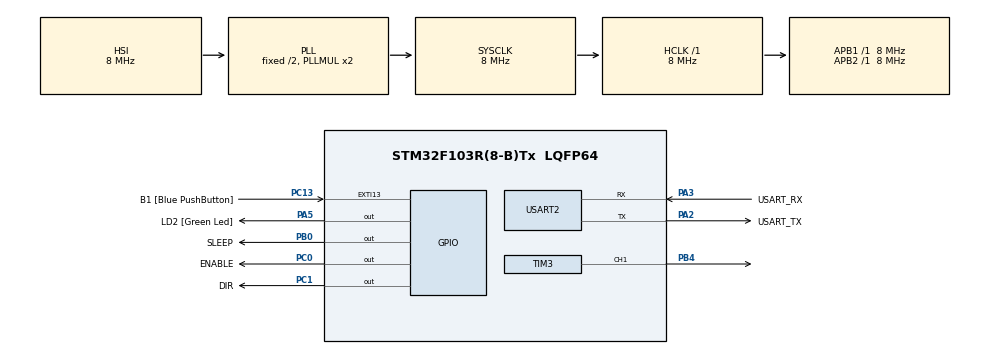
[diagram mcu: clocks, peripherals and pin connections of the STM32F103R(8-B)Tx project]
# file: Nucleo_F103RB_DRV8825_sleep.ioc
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Mcu.Family=STM32F1
Mcu.Name=STM32F103R(8-B)Tx
Mcu.Package=LQFP64
NVIC.EXTI15_10_IRQn=true\:0\:0\:false\:false\:true\:true\:true\:true
NVIC.PriorityGroup=NVIC_PRIORITYGROUP_4
PA13.GPIO_Label=TMS
PA13.Mode=Serial_Wire
PA13.Signal=SYS_JTMS-SWDIO
PA14.GPIO_Label=TCK
PA14.Mode=Serial_Wire
PA14.Signal=SYS_JTCK-SWCLK
PA2.GPIO_Label=USART_TX
PA2.GPIO_Mode=GPIO_MODE_AF_PP
PA2.GPIO_PuPd=GPIO_NOPULL
PA2.GPIO_Speed=GPIO_SPEED_FREQ_LOW
PA2.Mode=Asynchronous
PA2.Signal=USART2_TX
PA3.GPIO_Label=USART_RX
PA3.GPIO_Mode=GPIO_MODE_AF_PP
PA3.GPIO_PuPd=GPIO_NOPULL
PA3.GPIO_Speed=GPIO_SPEED_FREQ_LOW
PA3.Mode=Asynchronous
PA3.Signal=USART2_RX
PA5.GPIO_Label=LD2 [Green Led]
PA5.GPIO_ModeDefaultOutputPP=GPIO_MODE_OUTPUT_PP
PA5.GPIO_PuPd=GPIO_NOPULL
PA5.GPIO_Speed=GPIO_SPEED_FREQ_LOW
PA5.Signal=GPIO_Output
PB0.GPIO_Label=SLEEP
PB0.Signal=GPIO_Output
PB3.GPIO_Label=SWO
PB3.Signal=SYS_JTDO-TRACESWO
PB4.Signal=S_TIM3_CH1
PC0.GPIO_Label=ENABLE
PC0.Signal=GPIO_Output
PC1.GPIO_Label=DIR
PC1.Signal=GPIO_Output
PC13-TAMPER-RTC.GPIO_Label=B1 [Blue PushButton]
PC13-TAMPER-RTC.GPIO_PuPd=GPIO_NOPULL
PC13-TAMPER-RTC.Signal=GPXTI13
PC14-OSC32_IN.Mode=LSE-External-Oscillator
PC14-OSC32_IN.Signal=RCC_OSC32_IN
PC15-OSC32_OUT.Mode=LSE-External-Oscillator
PC15-OSC32_OUT.Signal=RCC_OSC32_OUT
PD0-OSC_IN.Mode=HSE-External-Clock-Source
PD0-OSC_IN.Signal=RCC_OSC_IN
PD1-OSC_OUT.Mode=HSE-External-Clock-Source
PD1-OSC_OUT.Signal=RCC_OSC_OUT
ProjectManager.HeapSize=0x200
ProjectManager.StackSize=0x400
ProjectManager.TargetToolchain=STM32CubeIDE
RCC.AHBFreq_Value=8000000
RCC.APB1Freq_Value=8000000
RCC.APB1TimFreq_Value=8000000
RCC.APB2Freq_Value=8000000
RCC.APB2TimFreq_Value=8000000
RCC.HCLKFreq_Value=8000000
RCC.RTCClockSelection=RCC_RTCCLKSOURCE_LSE
RCC.SYSCLKFreq_VALUE=8000000
RCC.SYSCLKSource=RCC_SYSCLKSOURCE_PLLCLK
RCC.USBFreq_Value=8000000
SH.S_TIM3_CH1.0=TIM3_CH1,Output Compare1 CH1
TIM3.AutoReloadPreload=TIM_AUTORELOAD_PRELOAD_ENABLE
TIM3.Channel-Output\ Compare1\ CH1=TIM_CHANNEL_1
TIM3.OCMode_1=TIM_OCMODE_TOGGLE
TIM3.Period=15-1
TIM3.Prescaler=1000-1
USART2.VirtualMode=VM_ASYNC
board=NUCLEO-F103RB

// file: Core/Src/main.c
/* USER CODE BEGIN Header */
/**
  ******************************************************************************
  * @file           : main.c
  * @brief          : Main program body
  ******************************************************************************
  * @attention
  *
  * Copyright (c) 2024 STMicroelectronics.
  * All rights reserved.
  *
  * This software is licensed under terms that can be found in the LICENSE file
  * in the root directory of this software component.
  * If no LICENSE file comes with this software, it is provided AS-IS.
  *
  ******************************************************************************
  */
/* USER CODE END Header */
#include "main.h"

/* USER CODE BEGIN PD */
typedef enum motor_direction {MOTOR_CW, MOTOR_CCW} direction_t;
typedef enum motor_enable {MOTOR_ENABLE, MOTOR_DISABLE} enable_t;
typedef enum motor_sleep {MOTOR_SLEEP, MOTOR_AWAKE} sleep_t;
/* USER CODE END PD */

TIM_HandleTypeDef htim3;

UART_HandleTypeDef huart2;

void SystemClock_Config(void);
static void MX_GPIO_Init(void);
static void MX_USART2_UART_Init(void);
static void MX_TIM3_Init(void);
/* USER CODE BEGIN PFP */
void motor_command(direction_t dir, enable_t status, uint32_t time);
/* USER CODE END PFP */

int main(void)
{

  /* MCU Configuration--------------------------------------------------------*/

  /* Reset of all peripherals, Initializes the Flash interface and the Systick. */
  HAL_Init();

  /* Configure the system clock */
  SystemClock_Config();

  /* Initialize all configured peripherals */
  MX_GPIO_Init();
  MX_USART2_UART_Init();
  MX_TIM3_Init();

  /* Infinite loop */
  /* USER CODE BEGIN WHILE */
  // Start timer for STEP signal
  HAL_GPIO_WritePin(SLEEP_GPIO_Port, SLEEP_Pin, MOTOR_SLEEP);
  //HAL_GPIO_WritePin(ENABLE_GPIO_Port, ENABLE_Pin, MOTOR_DISABLE); // Active low >> start disabled
  HAL_TIM_OC_Start(&htim3, TIM_CHANNEL_1 ); // Start STEP signal >> counter toggle to toggle every 20/1000 sec = 50hz

  while (1)
  {
/*
	  // motor
	  HAL_GPIO_WritePin(ENABLE_GPIO_Port, ENABLE_Pin, SET); // disable driver
	  HAL_Delay(500); // wait for the motor to stop
	  HAL_GPIO_TogglePin(DIR_GPIO_Port, DIR_Pin); // change direction
	  HAL_GPIO_WritePin(ENABLE_GPIO_Port, ENABLE_Pin, RESET); // enable driver
*/
	  motor_command(MOTOR_CW, MOTOR_AWAKE, 5000);
	  HAL_Delay(1000);
	  motor_command(MOTOR_CCW, MOTOR_AWAKE, 5000);
	  HAL_Delay(1000);
	  //motor_command(MOTOR_CCW, MOTOR_DISABLE, 2000);
	  //HAL_Delay(1000);

    /* USER CODE END WHILE */

  }
}

void SystemClock_Config(void)
{
  RCC_OscInitTypeDef RCC_OscInitStruct = {0};
  RCC_ClkInitTypeDef RCC_ClkInitStruct = {0};

  /** Initializes the RCC Oscillators according to the specified parameters
  * in the RCC_OscInitTypeDef structure.
  */
  RCC_OscInitStruct.OscillatorType = RCC_OSCILLATORTYPE_HSI;
  RCC_OscInitStruct.HSIState = RCC_HSI_ON;
  RCC_OscInitStruct.HSICalibrationValue = RCC_HSICALIBRATION_DEFAULT;
  RCC_OscInitStruct.PLL.PLLState = RCC_PLL_ON;
  RCC_OscInitStruct.PLL.PLLSource = RCC_PLLSOURCE_HSI_DIV2;
  RCC_OscInitStruct.PLL.PLLMUL = RCC_PLL_MUL2;
  if (HAL_RCC_OscConfig(&RCC_OscInitStruct) != HAL_OK)
  {
    Error_Handler();
  }

  /** Initializes the CPU, AHB and APB buses clocks
  */
  RCC_ClkInitStruct.ClockType = RCC_CLOCKTYPE_HCLK|RCC_CLOCKTYPE_SYSCLK
                              |RCC_CLOCKTYPE_PCLK1|RCC_CLOCKTYPE_PCLK2;
  RCC_ClkInitStruct.SYSCLKSource = RCC_SYSCLKSOURCE_PLLCLK;
  RCC_ClkInitStruct.AHBCLKDivider = RCC_SYSCLK_DIV1;
  RCC_ClkInitStruct.APB1CLKDivider = RCC_HCLK_DIV1;
  RCC_ClkInitStruct.APB2CLKDivider = RCC_HCLK_DIV1;

  if (HAL_RCC_ClockConfig(&RCC_ClkInitStruct, FLASH_LATENCY_0) != HAL_OK)
  {
    Error_Handler();
  }
}

static void MX_TIM3_Init(void)
{

  TIM_MasterConfigTypeDef sMasterConfig = {0};
  TIM_OC_InitTypeDef sConfigOC = {0};

  htim3.Instance = TIM3;
  htim3.Init.Prescaler = 1000-1;
  htim3.Init.CounterMode = TIM_COUNTERMODE_UP;
  htim3.Init.Period = 15-1;
  htim3.Init.ClockDivision = TIM_CLOCKDIVISION_DIV1;
  htim3.Init.AutoReloadPreload = TIM_AUTORELOAD_PRELOAD_ENABLE;
  if (HAL_TIM_OC_Init(&htim3) != HAL_OK)
  {
    Error_Handler();
  }
  sMasterConfig.MasterOutputTrigger = TIM_TRGO_RESET;
  sMasterConfig.MasterSlaveMode = TIM_MASTERSLAVEMODE_DISABLE;
  if (HAL_TIMEx_MasterConfigSynchronization(&htim3, &sMasterConfig) != HAL_OK)
  {
    Error_Handler();
  }
  sConfigOC.OCMode = TIM_OCMODE_TOGGLE;
  sConfigOC.Pulse = 0;
  sConfigOC.OCPolarity = TIM_OCPOLARITY_HIGH;
  sConfigOC.OCFastMode = TIM_OCFAST_DISABLE;
  if (HAL_TIM_OC_ConfigChannel(&htim3, &sConfigOC, TIM_CHANNEL_1) != HAL_OK)
  {
    Error_Handler();
  }
  HAL_TIM_MspPostInit(&htim3);

}

static void MX_USART2_UART_Init(void)
{

  huart2.Instance = USART2;
  huart2.Init.BaudRate = 115200;
  huart2.Init.WordLength = UART_WORDLENGTH_8B;
  huart2.Init.StopBits = UART_STOPBITS_1;
  huart2.Init.Parity = UART_PARITY_NONE;
  huart2.Init.Mode = UART_MODE_TX_RX;
  huart2.Init.HwFlowCtl = UART_HWCONTROL_NONE;
  huart2.Init.OverSampling = UART_OVERSAMPLING_16;
  if (HAL_UART_Init(&huart2) != HAL_OK)
  {
    Error_Handler();
  }

}

static void MX_GPIO_Init(void)
{
  GPIO_InitTypeDef GPIO_InitStruct = {0};

  /* GPIO Ports Clock Enable */
  __HAL_RCC_GPIOC_CLK_ENABLE();
  __HAL_RCC_GPIOD_CLK_ENABLE();
  __HAL_RCC_GPIOA_CLK_ENABLE();
  __HAL_RCC_GPIOB_CLK_ENABLE();

  /*Configure GPIO pin Output Level */
  HAL_GPIO_WritePin(GPIOC, ENABLE_Pin|DIR_Pin, GPIO_PIN_RESET);

  /*Configure GPIO pin Output Level */
  HAL_GPIO_WritePin(LD2_GPIO_Port, LD2_Pin, GPIO_PIN_RESET);

  /*Configure GPIO pin Output Level */
  HAL_GPIO_WritePin(SLEEP_GPIO_Port, SLEEP_Pin, GPIO_PIN_RESET);

  /*Configure GPIO pin : B1_Pin */
  GPIO_InitStruct.Pin = B1_Pin;
  GPIO_InitStruct.Mode = GPIO_MODE_IT_RISING;
  GPIO_InitStruct.Pull = GPIO_NOPULL;
  HAL_GPIO_Init(B1_GPIO_Port, &GPIO_InitStruct);

  /*Configure GPIO pins : ENABLE_Pin DIR_Pin */
  GPIO_InitStruct.Pin = ENABLE_Pin|DIR_Pin;
  GPIO_InitStruct.Mode = GPIO_MODE_OUTPUT_PP;
  GPIO_InitStruct.Pull = GPIO_NOPULL;
  GPIO_InitStruct.Speed = GPIO_SPEED_FREQ_LOW;
  HAL_GPIO_Init(GPIOC, &GPIO_InitStruct);

  /*Configure GPIO pin : LD2_Pin */
  GPIO_InitStruct.Pin = LD2_Pin;
  GPIO_InitStruct.Mode = GPIO_MODE_OUTPUT_PP;
  GPIO_InitStruct.Pull = GPIO_NOPULL;
  GPIO_InitStruct.Speed = GPIO_SPEED_FREQ_LOW;
  HAL_GPIO_Init(LD2_GPIO_Port, &GPIO_InitStruct);

  /*Configure GPIO pin : SLEEP_Pin */
  GPIO_InitStruct.Pin = SLEEP_Pin;
  GPIO_InitStruct.Mode = GPIO_MODE_OUTPUT_PP;
  GPIO_InitStruct.Pull = GPIO_NOPULL;
  GPIO_InitStruct.Speed = GPIO_SPEED_FREQ_LOW;
  HAL_GPIO_Init(SLEEP_GPIO_Port, &GPIO_InitStruct);

  /* EXTI interrupt init*/
  HAL_NVIC_SetPriority(EXTI15_10_IRQn, 0, 0);
  HAL_NVIC_EnableIRQ(EXTI15_10_IRQn);

}

/* USER CODE BEGIN 4 */
void motor_command(direction_t dir, enable_t status, uint32_t time){

	HAL_GPIO_WritePin(SLEEP_GPIO_Port, SLEEP_Pin, MOTOR_SLEEP);
	//HAL_GPIO_WritePin(ENABLE_GPIO_Port, ENABLE_Pin, MOTOR_DISABLE); // disable driver
	HAL_Delay(100); // wait for the motor to stop
	HAL_GPIO_WritePin(DIR_GPIO_Port,DIR_Pin, dir); // change direction

	HAL_GPIO_WritePin(SLEEP_GPIO_Port, SLEEP_Pin, status);
	//HAL_Delay(2);
	//HAL_GPIO_WritePin(ENABLE_GPIO_Port, ENABLE_Pin, status); // enable driver

	HAL_Delay(time);
	HAL_GPIO_WritePin(SLEEP_GPIO_Port, SLEEP_Pin, MOTOR_SLEEP);
	//HAL_GPIO_WritePin(ENABLE_GPIO_Port, ENABLE_Pin, MOTOR_DISABLE); // disable driver
}

/* USER CODE END 4 */

void Error_Handler(void)
{
  __disable_irq();
  while (1)
  {
  }
}
